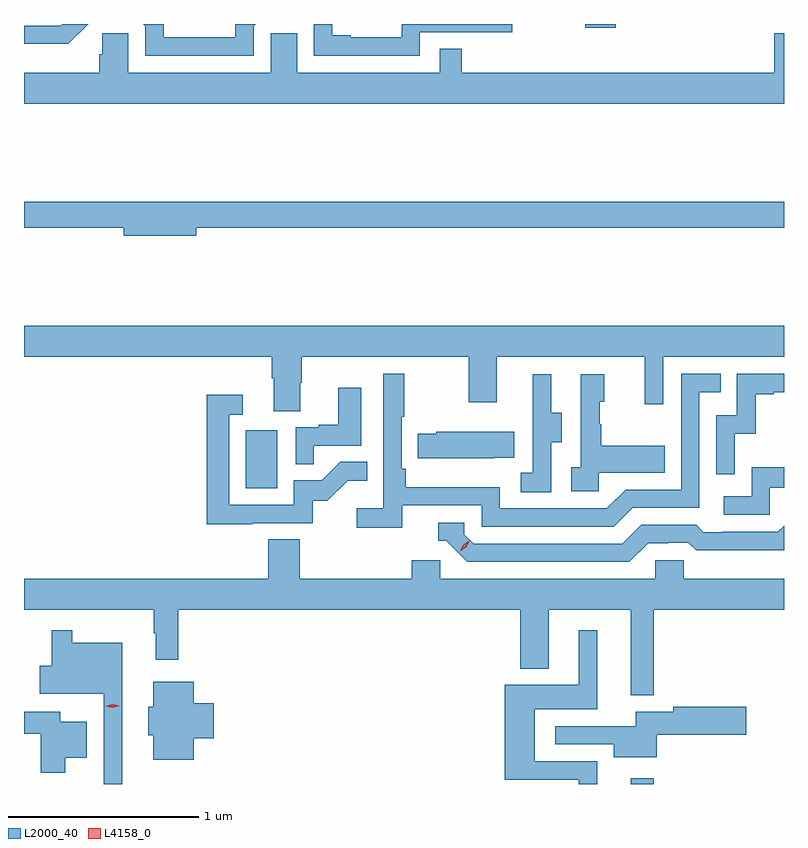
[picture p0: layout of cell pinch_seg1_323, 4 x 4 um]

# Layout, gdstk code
import gdstk
lib = gdstk.Library(unit=1e-6, precision=1e-09)
def R(c, l, rs):  # rectangles x0, y0, x1, y1
    for r in rs: c.add(gdstk.rectangle(r[:2], r[2:], *l))
def P(c, l, *ps):  # polygons
    for p in ps: c.add(gdstk.Polygon(p, *l))
L2000_40 = (2000, 40)
L4158_0 = (4158, 0)

pinch_seg1_323 = lib.new_cell('pinch_seg1_323')
R(pinch_seg1_323, L2000_40, [(989.855,556.144,989.977,556.174), (987.83,557.7,987.994,558.007), (989.615,560.124,989.776,560.144)])
P(pinch_seg1_323, L2000_40, [(986.999,560.144),(986.864,560.144),(986.856,560.136),(986.662,560.136),(986.662,560.039),(986.894,560.039)],
  [(987.87,560.133),(987.881,560.144),(987.774,560.144),(987.774,560.073),(987.397,560.073),(987.397,560.144),(987.289,560.144),(987.3,560.133),(987.3,559.977),(987.87,559.977)],
  [(988.746,560.1),(989.233,560.1),(989.233,560.144),(988.65,560.144),(988.65,560.073),(988.381,560.073),(988.381,560.086),(988.285,560.086),(988.285,560.144),(988.188,560.144),(988.188,559.977),(988.746,559.977)],
  [(990.662,560.096),(990.611,560.096),(990.611,559.888),(988.967,559.888),(988.967,560.015),(988.851,560.015),(988.851,559.888),(988.099,559.888),(988.099,560.096),(987.96,560.096),(987.96,559.888),(987.21,559.888),(987.21,560.096),(987.073,560.096),(987.073,559.986),(987.059,559.986),(987.059,559.888),(986.662,559.888),(986.662,559.724),(990.662,559.724)],
  [(987.568,559.072),(990.662,559.072),(990.662,559.208),(986.662,559.208),(986.662,559.072),(987.188,559.072),(987.188,559.03),(987.568,559.03)],
  [(988.117,558.255),(988.125,558.255),(988.125,558.392),(989.002,558.392),(989.002,558.153),(989.149,558.153),(989.149,558.392),(989.93,558.392),(989.93,558.144),(990.027,558.144),(990.027,558.392),(990.662,558.392),(990.662,558.556),(986.662,558.556),(986.662,558.392),(987.965,558.392),(987.965,558.28),(987.977,558.28),(987.977,558.106),(988.117,558.106)],
  [(988.652,557.61),(989.07,557.61),(989.07,557.499),(989.767,557.499),(989.866,557.598),(990.216,557.598),(990.216,558.207),(990.329,558.207),(990.329,558.303),(990.12,558.303),(990.12,557.694),(989.829,557.694),(989.73,557.595),(989.166,557.595),(989.166,557.707),(988.67,557.707),(988.67,557.803),(988.65,557.803),(988.65,558.076),(988.663,558.076),(988.663,558.304),(988.554,558.304),(988.554,557.596),(988.413,557.596),(988.413,557.494),(988.652,557.494)],
  [(990.402,557.987),(990.512,557.987),(990.512,558.195),(990.607,558.195),(990.607,558.207),(990.662,558.207),(990.662,558.303),(990.414,558.303),(990.414,558.084),(990.306,558.084),(990.306,557.775),(990.402,557.775)],
  [(989.688,557.783),(990.035,557.783),(990.035,557.923),(989.701,557.923),(989.701,558.038),(989.691,558.038),(989.691,558.156),(989.716,558.156),(989.716,558.301),(989.592,558.301),(989.592,557.81),(989.541,557.81),(989.541,557.685),(989.688,557.685)],
  [(989.436,557.944),(989.491,557.944),(989.491,558.099),(989.437,558.099),(989.437,558.301),(989.339,558.301),(989.339,558.087),(989.34,558.087),(989.34,557.783),(989.277,557.783),(989.277,557.68),(989.436,557.68)],
  [(988.187,557.925),(988.438,557.925),(988.438,558.229),(988.316,558.229),(988.316,558.034),(988.213,558.034),(988.213,558.021),(988.092,558.021),(988.092,557.827),(988.187,557.827)],
  [(987.863,557.517),(988.182,557.517),(988.182,557.634),(988.258,557.634),(988.365,557.741),(988.469,557.741),(988.469,557.84),(988.326,557.84),(988.228,557.742),(988.083,557.742),(988.083,557.613),(987.741,557.613),(987.741,558.087),(987.814,558.087),(987.814,558.193),(987.625,558.193),(987.625,557.512),(987.863,557.512)],
  [(989.135,557.861),(989.243,557.861),(989.243,557.998),(988.833,557.998),(988.833,557.988),(988.735,557.988),(988.735,557.858),(989.135,557.858)],
  [(990.588,557.703),(990.662,557.703),(990.662,557.812),(990.492,557.812),(990.492,557.658),(990.345,557.658),(990.345,557.562),(990.588,557.562)],
  [(989.947,557.412),(990.054,557.412),(990.054,557.415),(990.157,557.415),(990.199,557.373),(990.432,557.373),(990.432,557.375),(990.662,557.375),(990.662,557.504),(990.63,557.472),(990.337,557.472),(990.337,557.469),(990.238,557.469),(990.199,557.508),(989.91,557.508),(989.811,557.409),(989.028,557.409),(988.98,557.457),(988.98,557.52),(988.841,557.52),(988.841,557.424),(988.884,557.424),(988.995,557.313),(989.848,557.313)],
  [(989.977,557.06),(990.662,557.06),(990.662,557.224),(990.135,557.224),(990.135,557.322),(989.985,557.322),(989.985,557.224),(988.854,557.224),(988.854,557.322),(988.703,557.322),(988.703,557.224),(988.112,557.224),(988.112,557.432),(987.947,557.432),(987.947,557.224),(986.662,557.224),(986.662,557.06),(987.345,557.06),(987.345,556.937),(987.356,556.937),(987.356,556.797),(987.473,556.797),(987.473,557.06),(989.273,557.06),(989.273,556.751),(989.425,556.751),(989.425,557.06),(989.855,557.06),(989.855,556.611),(989.977,556.611)],
  [(987.178,556.888),(986.917,556.888),(986.917,556.954),(986.807,556.954),(986.807,556.767),(986.744,556.767),(986.744,556.619),(987.081,556.619),(987.081,556.144),(987.178,556.144)],
  [(989.68,556.263),(989.35,556.263),(989.35,556.538),(989.68,556.538),(989.68,556.954),(989.582,556.954),(989.582,556.666),(989.192,556.666),(989.192,556.167),(989.582,556.167),(989.582,556.144),(989.68,556.144)],
  [(987.556,556.385),(987.661,556.385),(987.661,556.568),(987.556,556.568),(987.556,556.681),(987.341,556.681),(987.341,556.551),(987.317,556.551),(987.317,556.401),(987.341,556.401),(987.341,556.271),(987.556,556.271)],
  [(989.992,556.403),(990.463,556.403),(990.463,556.55),(990.078,556.55),(990.078,556.525),(989.882,556.525),(989.882,556.449),(989.457,556.449),(989.457,556.353),(989.765,556.353),(989.765,556.286),(989.992,556.286)],
  [(986.878,556.283),(986.992,556.283),(986.992,556.471),(986.853,556.471),(986.853,556.524),(986.662,556.524),(986.662,556.408),(986.749,556.408),(986.749,556.202),(986.878,556.202)])
P(pinch_seg1_323, L4158_0, [(987.128,556.545),(987.092,556.553),(987.092,556.553),(987.092,556.554),(987.127,556.565),(987.162,556.557),(987.162,556.557),(987.162,556.557)],
  [(988.958,557.369),(988.958,557.369),(988.974,557.402),(989.005,557.423),(989.005,557.423),(989.005,557.422),(988.989,557.389),(988.958,557.369)])

lib.write_gds('pinch_seg1_323.gds')
